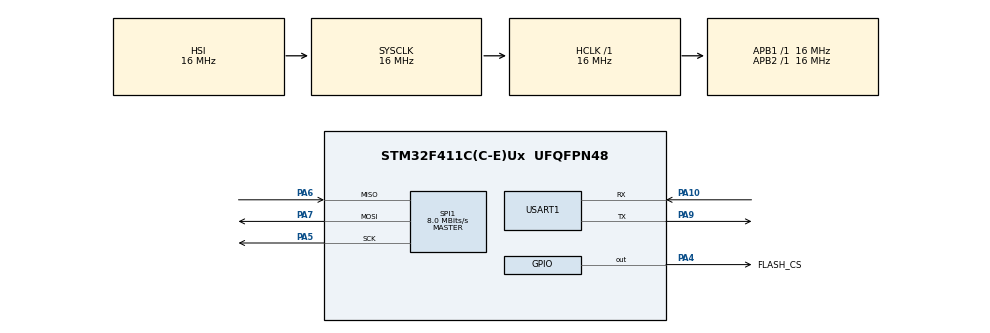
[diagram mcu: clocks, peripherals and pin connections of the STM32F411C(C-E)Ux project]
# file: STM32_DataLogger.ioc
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Mcu.Family=STM32F4
Mcu.Name=STM32F411C(C-E)Ux
Mcu.Package=UFQFPN48
NVIC.PriorityGroup=NVIC_PRIORITYGROUP_4
PA10.Mode=Asynchronous
PA10.Signal=USART1_RX
PA4.GPIO_Label=FLASH_CS
PA4.Signal=GPIO_Output
PA5.Mode=Full_Duplex_Master
PA5.Signal=SPI1_SCK
PA6.Mode=Full_Duplex_Master
PA6.Signal=SPI1_MISO
PA7.Mode=Full_Duplex_Master
PA7.Signal=SPI1_MOSI
PA9.Mode=Asynchronous
PA9.Signal=USART1_TX
ProjectManager.HeapSize=0x200
ProjectManager.StackSize=0x400
ProjectManager.TargetToolchain=STM32CubeIDE
RCC.AHBFreq_Value=16000000
RCC.APB1Freq_Value=16000000
RCC.APB2Freq_Value=16000000
RCC.CortexFreq_Value=16000000
RCC.HSE_VALUE=25000000
RCC.HSI_VALUE=16000000
RCC.LSE_VALUE=32768
RCC.SYSCLKFreq_VALUE=16000000
RCC.VCOOutputFreq_Value=192000000
SPI1.CalculateBaudRate=8.0 MBits/s
SPI1.Direction=SPI_DIRECTION_2LINES
SPI1.Mode=SPI_MODE_MASTER
SPI1.VirtualType=VM_MASTER
USART1.VirtualMode=VM_ASYNC
board=custom

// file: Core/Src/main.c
/* USER CODE BEGIN Header */
/**
  ******************************************************************************
  * @file           : main.c
  * @brief          : Main program body
  ******************************************************************************
  * @attention
  *
  * Copyright (c) 2026 STMicroelectronics.
  * All rights reserved.
  *
  * This software is licensed under terms that can be found in the LICENSE file
  * in the root directory of this software component.
  * If no LICENSE file comes with this software, it is provided AS-IS.
  *
  ******************************************************************************
  */
/* USER CODE END Header */
#include "main.h"

/* USER CODE BEGIN Includes */

#include "spif.h"
#include <stdio.h>
#include <string.h>

/* USER CODE END Includes */

SPI_HandleTypeDef hspi1;

UART_HandleTypeDef huart1;

void SystemClock_Config(void);
static void MX_GPIO_Init(void);
static void MX_SPI1_Init(void);
static void MX_USART1_UART_Init(void);

/* USER CODE BEGIN 0 */

static void uart_log(const char *s){
	HAL_UART_Transmit(&huart1, (uint8_t *)s, (uint16_t)strlen(s), 1000);
}

static void flash_error(const char *stage, spif_err_t code) {
	char buf[96];
	snprintf (buf, sizeof(buf), "ERROR at %s: %d \r\n", stage, (int)code);
	uart_log(buf);
}

#define FLASH_TEST_WRITE 1

static void flash_test(void){
	spif_t flash = {0};
	spif_err_t err;

	char buf[128];
	const uint8_t tx[] = "Hello ESP32 from STM32";

	uint8_t rx[(sizeof(tx))] = {0};

	uart_log("\r\n---SPI FLASH TEST EMB 15 ---\r\n");

	err = spif_init(&flash, &hspi1, FLASH_CS_GPIO_Port, FLASH_CS_Pin);

	if (err!= SPIF_ERR_NONE) {
		flash_error ("spif_init", err);
		return;
	}

	snprintf (buf, sizeof(buf), "Maker ID:0x%02X, size: %lu bytes, sector: %lu bytes\r\n",
			(unsigned int)flash.manufacturer,
			(unsigned long)flash.size,
			(unsigned long)flash.sector_size);

	uart_log(buf);
	if (flash.sector_size == 0 || flash.size < flash.sector_size){
		uart_log ("ERROR:invalid geometry");
		return;
	}

	uint32_t sector = (uint32_t)(flash.size / flash.sector_size - 1U);
	uint32_t addr = SPIF_SECTOR_TO_ADDRESS (&flash, sector);

	snprintf (buf, sizeof(buf), "Text sector:%lu, address: 0x%08lX\r\n",
			(unsigned long)sector,
			(unsigned long)addr);
	uart_log (buf);

#if FLASH_TEST_WRITE

	uart_log ("Erasing... \r\n");
	err = spif_erase_sector(&flash, sector);
	if (err != SPIF_ERR_NONE){
		flash_error("erase", err);
		return;
	}

	uart_log("Writing...\r\n");
	err = spif_write (&flash, addr, tx, sizeof(tx));
	if (err != SPIF_ERR_NONE){
		flash_error("write", err);
		return;
	}

#endif

	uart_log("Reading...\r\n");
	err = spif_read (&flash, addr, rx, sizeof(rx));
	if (err != SPIF_ERR_NONE) {
		flash_error("read", err);
		return;
	}

	snprintf(buf, sizeof(buf), "Read:  %.*s\r\n",
			(int)(sizeof(rx)-1),
			(char*)rx);
	uart_log(buf);

	if (memcmp (tx,rx, sizeof(tx)) == 0){
		uart_log("FLASH TEST OK \r\n");
	} else {
		uart_log("FLASH TEST FAIL \r\n");
	}
}

/* USER CODE END 0 */

int main(void)
{

  /* MCU Configuration--------------------------------------------------------*/

  /* Reset of all peripherals, Initializes the Flash interface and the Systick. */
  HAL_Init();

  /* Configure the system clock */
  SystemClock_Config();

  /* Initialize all configured peripherals */
  MX_GPIO_Init();
  MX_SPI1_Init();
  MX_USART1_UART_Init();
  /* USER CODE BEGIN 2 */

  flash_test();

  /* USER CODE END 2 */

  /* Infinite loop */
  while (1)
  {

  }
}

void SystemClock_Config(void)
{
  RCC_OscInitTypeDef RCC_OscInitStruct = {0};
  RCC_ClkInitTypeDef RCC_ClkInitStruct = {0};

  /** Configure the main internal regulator output voltage
  */
  __HAL_RCC_PWR_CLK_ENABLE();
  __HAL_PWR_VOLTAGESCALING_CONFIG(PWR_REGULATOR_VOLTAGE_SCALE1);

  /** Initializes the RCC Oscillators according to the specified parameters
  * in the RCC_OscInitTypeDef structure.
  */
  RCC_OscInitStruct.OscillatorType = RCC_OSCILLATORTYPE_HSI;
  RCC_OscInitStruct.HSIState = RCC_HSI_ON;
  RCC_OscInitStruct.HSICalibrationValue = RCC_HSICALIBRATION_DEFAULT;
  RCC_OscInitStruct.PLL.PLLState = RCC_PLL_NONE;
  if (HAL_RCC_OscConfig(&RCC_OscInitStruct) != HAL_OK)
  {
    Error_Handler();
  }

  /** Initializes the CPU, AHB and APB buses clocks
  */
  RCC_ClkInitStruct.ClockType = RCC_CLOCKTYPE_HCLK|RCC_CLOCKTYPE_SYSCLK
                              |RCC_CLOCKTYPE_PCLK1|RCC_CLOCKTYPE_PCLK2;
  RCC_ClkInitStruct.SYSCLKSource = RCC_SYSCLKSOURCE_HSI;
  RCC_ClkInitStruct.AHBCLKDivider = RCC_SYSCLK_DIV1;
  RCC_ClkInitStruct.APB1CLKDivider = RCC_HCLK_DIV1;
  RCC_ClkInitStruct.APB2CLKDivider = RCC_HCLK_DIV1;

  if (HAL_RCC_ClockConfig(&RCC_ClkInitStruct, FLASH_LATENCY_0) != HAL_OK)
  {
    Error_Handler();
  }
}

static void MX_SPI1_Init(void)
{

  /* SPI1 parameter configuration*/
  hspi1.Instance = SPI1;
  hspi1.Init.Mode = SPI_MODE_MASTER;
  hspi1.Init.Direction = SPI_DIRECTION_2LINES;
  hspi1.Init.DataSize = SPI_DATASIZE_8BIT;
  hspi1.Init.CLKPolarity = SPI_POLARITY_LOW;
  hspi1.Init.CLKPhase = SPI_PHASE_1EDGE;
  hspi1.Init.NSS = SPI_NSS_SOFT;
  hspi1.Init.BaudRatePrescaler = SPI_BAUDRATEPRESCALER_2;
  hspi1.Init.FirstBit = SPI_FIRSTBIT_MSB;
  hspi1.Init.TIMode = SPI_TIMODE_DISABLE;
  hspi1.Init.CRCCalculation = SPI_CRCCALCULATION_DISABLE;
  hspi1.Init.CRCPolynomial = 10;
  if (HAL_SPI_Init(&hspi1) != HAL_OK)
  {
    Error_Handler();
  }

}

static void MX_USART1_UART_Init(void)
{

  huart1.Instance = USART1;
  huart1.Init.BaudRate = 115200;
  huart1.Init.WordLength = UART_WORDLENGTH_8B;
  huart1.Init.StopBits = UART_STOPBITS_1;
  huart1.Init.Parity = UART_PARITY_NONE;
  huart1.Init.Mode = UART_MODE_TX_RX;
  huart1.Init.HwFlowCtl = UART_HWCONTROL_NONE;
  huart1.Init.OverSampling = UART_OVERSAMPLING_16;
  if (HAL_UART_Init(&huart1) != HAL_OK)
  {
    Error_Handler();
  }

}

static void MX_GPIO_Init(void)
{
  GPIO_InitTypeDef GPIO_InitStruct = {0};

  /* GPIO Ports Clock Enable */
  __HAL_RCC_GPIOA_CLK_ENABLE();

  /*Configure GPIO pin Output Level */
  HAL_GPIO_WritePin(FLASH_CS_GPIO_Port, FLASH_CS_Pin, GPIO_PIN_RESET);

  /*Configure GPIO pin : FLASH_CS_Pin */
  GPIO_InitStruct.Pin = FLASH_CS_Pin;
  GPIO_InitStruct.Mode = GPIO_MODE_OUTPUT_PP;
  GPIO_InitStruct.Pull = GPIO_NOPULL;
  GPIO_InitStruct.Speed = GPIO_SPEED_FREQ_LOW;
  HAL_GPIO_Init(FLASH_CS_GPIO_Port, &GPIO_InitStruct);

}

void Error_Handler(void)
{
  __disable_irq();
  while (1)
  {
  }
}
